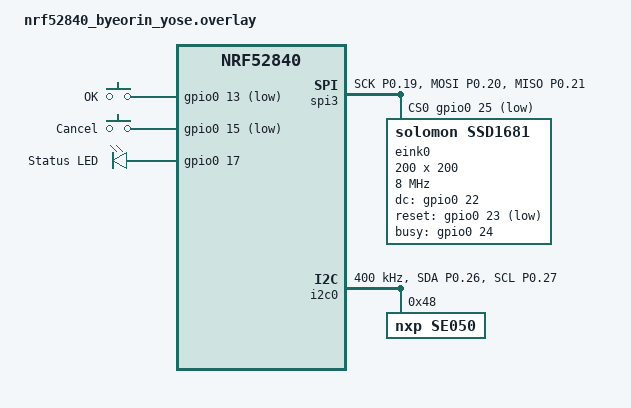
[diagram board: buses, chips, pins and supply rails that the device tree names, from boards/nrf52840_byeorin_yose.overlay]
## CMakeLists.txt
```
# SPDX-License-Identifier: Apache-2.0
#
# 벼린 요세 — application CMakeLists.
#
# Targets Zephyr 3.7. Builds against board overlays in ./boards/.
# Bootloader (MCUBoot) is a separate build configuration — see src/bootloader/README.md.

cmake_minimum_required(VERSION 3.20.0)

# Allow consumers to set BOARD via env, default to nRF52840 DK for dev.
if(NOT DEFINED BOARD)
  set(BOARD nrf52840dk_nrf52840)
endif()

find_package(Zephyr REQUIRED HINTS $ENV{ZEPHYR_BASE})

project(byeorin_yose
  VERSION 0.0.1
  LANGUAGES C
  DESCRIPTION "Worker's Wallet (벼린) Cold — hardware wallet firmware"
)

# C99 + a couple of common warning escalations.
target_compile_options(app PRIVATE
  -Wall
  -Wextra
  -Wno-unused-parameter
  -Werror=implicit-function-declaration
  -Werror=incompatible-pointer-types
)

target_include_directories(app PRIVATE src)

target_sources(app PRIVATE
  src/main.c

  # Transport
  src/transport/usb_hid.c
  src/transport/ble.c
  src/transport/apdu.c

  # Secure element
  src/se/se050.c

  # Key derivation (thin wrapper over SE)
  src/keys/derive.c

  # User-interface
  src/ui/display.c
  src/ui/buttons.c
  src/ui/confirm.c

  # Per-chain "apps" (display layers only — signing is generic)
  src/apps/evm_app.c
  src/apps/cosmos_app.c
  src/apps/btc_app.c
)

# If/when vendor middleware lands under third_party/se05x, link it here.
# add_subdirectory(../third_party/se05x se05x)
# target_link_libraries(app PRIVATE se05x_middleware)
```

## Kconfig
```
# 벼린 요세 — application Kconfig.
#
# Anything that is firmware-policy (not Zephyr-policy) belongs here.
# These symbols are referenced from C as CONFIG_BYEORIN_*.

mainmenu "Byeorin Yose Wallet firmware"

menu "Byeorin Yose"

config BYEORIN_SE050_ADDR
	hex "SE050 I2C address (7-bit)"
	default 0x48
	help
	  7-bit I2C address of the NXP SE050 secure element.
	  Default per SE050 datasheet is 0x48.

config BYEORIN_BLE_NAME
	string "BLE advertised device name"
	default "ByeorinYose"
	help
	  Name surfaced over GAP advertisements. Companion app uses
	  this to filter discovered peers.

config BYEORIN_USB_HID_REPORT_LEN
	int "USB-HID report length (bytes)"
	default 64
	range 32 1024
	help
	  Size of one HID report. Ledger-compatible APDU framing
	  fragments APDUs into reports of this size.

config BYEORIN_FIRMWARE_VERSION_STRING
	string "Firmware version string surfaced via GET_VERSION APDU"
	default "0.0.1-dev"

config BYEORIN_CONFIRM_TIMEOUT_SEC
	int "User-confirmation timeout (seconds)"
	default 60
	range 5 300
	help
	  How long confirm_tx() waits for a physical button press
	  before returning CONFIRM_TIMEOUT. 60 s is the recommended
	  default — long enough for a user to read a Hangul address
	  carefully, short enough that a forgotten device on a desk
	  does not stay armed indefinitely.

config BYEORIN_MAX_APDU_LEN
	int "Maximum reassembled APDU length"
	default 1024
	range 64 8192
	help
	  Upper bound on a single command APDU. Anything larger is
	  rejected at the transport layer.

config BYEORIN_ALLOW_BLE_SIGNING
	bool "Allow signing requests over BLE (not only USB)"
	default n
	help
	  Defence in depth: by default the firmware refuses SIGN_HASH
	  APDUs that arrive over BLE. Enable only after the threat model
	  for BLE pairing has been re-reviewed.

endmenu

# Pull in Zephyr's own Kconfig so the application can still use it.
source "Kconfig.zephyr"
```

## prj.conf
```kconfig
# 벼린 요세 — Zephyr application config.
#
# Keep this file lean: anything truly board-specific belongs in the overlay,
# anything dev-only (e.g. shell, RTT verbose) belongs in a separate
# prj_debug.conf overlay (added later).

# --- Core kernel ---------------------------------------------------------
CONFIG_MAIN_STACK_SIZE=4096
CONFIG_SYSTEM_WORKQUEUE_STACK_SIZE=4096
CONFIG_HEAP_MEM_POOL_SIZE=16384
CONFIG_EVENTS=y
CONFIG_POLL=y
CONFIG_REBOOT=y

# --- Logging -------------------------------------------------------------
# This is the PRODUCTION config. A debug overlay (prj_debug.conf) flips
# CONFIG_LOG_DEFAULT_LEVEL up, re-enables CONSOLE, and turns on
# CONFIG_ASSERT for engineering builds — never ship a release built with
# the debug overlay.
CONFIG_LOG=y
CONFIG_LOG_MODE_DEFERRED=y
# Level 2 = warning. Anything info/debug could leak address material or
# state into the RTT/UART backend; release builds must not emit it.
CONFIG_LOG_DEFAULT_LEVEL=2
# No shell, no interactive console: production firmware exposes only the
# USB-HID APDU surface and (optionally) BLE GATT. RTT-via-JTAG is the
# engineering escape hatch, gated by hardware access to the SWD pads.
CONFIG_SHELL=n
CONFIG_CONSOLE=n
CONFIG_SERIAL=n
CONFIG_UART_CONSOLE=n
CONFIG_PRINTK=n
# Sensitive-data logs (digests, derived pubkeys) are no-ops unless
# CONFIG_BYEORIN_LOG_SENSITIVE is also enabled — keep that off for release.
# CONFIG_BYEORIN_LOG_SENSITIVE is not set

# --- Asserts / debug ----------------------------------------------------
# Release builds must NOT carry asserts: they can panic the device in the
# field on conditions the bench build would simply log. Engineering builds
# use prj_debug.conf which sets CONFIG_ASSERT=y + CONFIG_DEBUG=y.
CONFIG_ASSERT=n
CONFIG_DEBUG=n
CONFIG_DEBUG_INFO=n
CONFIG_THREAD_NAME=n

# --- Storage / settings --------------------------------------------------
CONFIG_FLASH=y
CONFIG_FLASH_MAP=y
CONFIG_NVS=y
CONFIG_SETTINGS=y
CONFIG_SETTINGS_NVS=y

# --- GPIO / pinctrl / busses --------------------------------------------
CONFIG_GPIO=y
CONFIG_PINCTRL=y
CONFIG_I2C=y
CONFIG_SPI=y

# --- USB stack (CDC + HID) ----------------------------------------------
CONFIG_USB_DEVICE_STACK=y
CONFIG_USB_DEVICE_PRODUCT="Byeorin Yose Wallet"
CONFIG_USB_DEVICE_MANUFACTURER="Byeorin"
CONFIG_USB_DEVICE_VID=0x2C97
CONFIG_USB_DEVICE_PID=0x1011
CONFIG_USB_DEVICE_HID=y
CONFIG_USB_HID=y
CONFIG_USB_HID_POLL_INTERVAL_MS=1
CONFIG_USB_DEVICE_INITIALIZE_AT_BOOT=n
# Enable the HID interrupt-OUT endpoint so OUT reports arrive via
# hid_int_ep_read() rather than only via SET_REPORT control transfers.
# Both paths funnel into hid_on_report_out() in usb_hid.c.
CONFIG_ENABLE_HID_INT_OUT_EP=y

# --- Bluetooth (Peripheral only) ----------------------------------------
CONFIG_BT=y
CONFIG_BT_PERIPHERAL=y
CONFIG_BT_DEVICE_NAME="ByeorinYose"
CONFIG_BT_DEVICE_APPEARANCE=192
CONFIG_BT_MAX_CONN=1
CONFIG_BT_MAX_PAIRED=4
CONFIG_BT_SETTINGS=y
CONFIG_BT_SMP=y
CONFIG_BT_FIXED_PASSKEY=y
CONFIG_BT_BONDABLE=y
# Peripheral-only profile: no GATT client, no central role.
CONFIG_BT_GATT_CLIENT=n
# We need bt_gatt_cb_register for MTU updates; pulled in by default
# when CONFIG_BT_GATT is on, but pin it explicitly for clarity.
CONFIG_BT_GATT_DYNAMIC_DB=n
# bt_conn_auth_info_cb support
CONFIG_BT_CONN=y

# --- Crypto (mbedTLS subset, only what MCUBoot signature verify needs) --
CONFIG_MBEDTLS=y
CONFIG_MBEDTLS_BUILTIN=y
CONFIG_MBEDTLS_ENABLE_HEAP=y
CONFIG_MBEDTLS_HEAP_SIZE=8192
CONFIG_MBEDTLS_SHA256_C=y
CONFIG_MBEDTLS_ECDSA_C=y
CONFIG_MBEDTLS_ECP_C=y
CONFIG_MBEDTLS_ECP_DP_SECP256R1_ENABLED=y

# --- MCUBoot integration (signed images, swap-move) ---------------------
CONFIG_BOOTLOADER_MCUBOOT=y
CONFIG_MCUBOOT_IMAGE_VERSION="0.0.1+0"
CONFIG_MCUBOOT_SIGNATURE_KEY_FILE=""
CONFIG_IMG_MANAGER=y
CONFIG_STREAM_FLASH=y

# --- Power / watchdog ---------------------------------------------------
CONFIG_PM=y
CONFIG_PM_DEVICE=y
CONFIG_WATCHDOG=y

# --- Application-private Kconfig ----------------------------------------
# (defined in app/Kconfig)
CONFIG_BYEORIN_SE050_ADDR=0x48
CONFIG_BYEORIN_BLE_NAME="ByeorinYose"
CONFIG_BYEORIN_USB_HID_REPORT_LEN=64
CONFIG_BYEORIN_FIRMWARE_VERSION_STRING="0.0.1-dev"
CONFIG_BYEORIN_CONFIRM_TIMEOUT_SEC=60
# Defence in depth: SIGN_HASH refused over BLE unless explicitly opted in.
CONFIG_BYEORIN_ALLOW_BLE_SIGNING=n
```

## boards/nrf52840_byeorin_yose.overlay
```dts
/*
 * Devicetree overlay for the 벼린 요세 board.
 *
 * Pin assignments mirror hardware/pin-map.md. When the real board file
 * lands under firmware/boards/byeorin_yose/, this overlay becomes obsolete
 * for production — but it keeps `west build -b nrf52840dk_nrf52840` working
 * for early development on the Nordic DK.
 *
 * Bus assignment:
 *   - SPI3  -> e-ink panel (SSD1681/UC8151)
 *   - I2C0  -> SE050 secure element
 *   - GPIO  -> 2 buttons, 1 status LED, e-ink DC/RST/BUSY sidebands
 */

/ {
	chosen {
		zephyr,console = &uart0;
		zephyr,uart-mcumgr = &uart0;
		zephyr,bt-mon-uart = &uart0;
		zephyr,bt-c2h-uart = &uart0;
	};

	aliases {
		ok-button     = &button_ok;
		cancel-button = &button_cancel;
		status-led    = &led_status;
		eink-display  = &eink0;
		se050         = &se050_0;
	};

	buttons {
		compatible = "gpio-keys";

		button_ok: button_ok {
			gpios = <&gpio0 13 (GPIO_PULL_UP | GPIO_ACTIVE_LOW)>;
			label = "OK";
			zephyr,code = <0x1c>; /* INPUT_KEY_ENTER */
		};

		button_cancel: button_cancel {
			gpios = <&gpio0 15 (GPIO_PULL_UP | GPIO_ACTIVE_LOW)>;
			label = "Cancel";
			zephyr,code = <0x01>; /* INPUT_KEY_ESC */
		};
	};

	leds {
		compatible = "gpio-leds";

		led_status: led_status {
			gpios = <&gpio0 17 GPIO_ACTIVE_HIGH>;
			label = "Status LED";
		};
	};

	eink_ctrl: eink_ctrl {
		compatible = "gpio-keys"; /* re-purposed to expose pins */
		dc-gpios   = <&gpio0 22 GPIO_ACTIVE_HIGH>;
		rst-gpios  = <&gpio0 23 GPIO_ACTIVE_LOW>;
		busy-gpios = <&gpio0 24 GPIO_ACTIVE_HIGH>;
	};
};

/* ------------------------------------------------------------------ */
/* SPI3 — e-ink                                                       */
/* ------------------------------------------------------------------ */
&pinctrl {
	spi3_default: spi3_default {
		group1 {
			psels = <NRF_PSEL(SPIM_SCK,  0, 19)>,
			        <NRF_PSEL(SPIM_MOSI, 0, 20)>,
			        <NRF_PSEL(SPIM_MISO, 0, 21)>; /* unused but routed */
		};
	};

	spi3_sleep: spi3_sleep {
		group1 {
			psels = <NRF_PSEL(SPIM_SCK,  0, 19)>,
			        <NRF_PSEL(SPIM_MOSI, 0, 20)>,
			        <NRF_PSEL(SPIM_MISO, 0, 21)>;
			low-power-enable;
		};
	};

	i2c0_default: i2c0_default {
		group1 {
			psels = <NRF_PSEL(TWIM_SDA, 0, 26)>,
			        <NRF_PSEL(TWIM_SCL, 0, 27)>;
		};
	};

	i2c0_sleep: i2c0_sleep {
		group1 {
			psels = <NRF_PSEL(TWIM_SDA, 0, 26)>,
			        <NRF_PSEL(TWIM_SCL, 0, 27)>;
			low-power-enable;
		};
	};
};

&spi3 {
	status = "okay";
	compatible = "nordic,nrf-spim";
	pinctrl-0 = <&spi3_default>;
	pinctrl-1 = <&spi3_sleep>;
	pinctrl-names = "default", "sleep";
	cs-gpios = <&gpio0 25 GPIO_ACTIVE_LOW>;

	eink0: eink@0 {
		compatible = "solomon,ssd1681"; /* alt: ultrachip,uc8151 */
		reg = <0>;
		spi-max-frequency = <8000000>;
		width  = <200>;
		height = <200>;
		dc-gpios   = <&gpio0 22 GPIO_ACTIVE_HIGH>;
		reset-gpios = <&gpio0 23 GPIO_ACTIVE_LOW>;
		busy-gpios  = <&gpio0 24 GPIO_ACTIVE_HIGH>;
	};
};

/* ------------------------------------------------------------------ */
/* I2C0 — SE050                                                       */
/* ------------------------------------------------------------------ */
&i2c0 {
	status = "okay";
	compatible = "nordic,nrf-twim";
	pinctrl-0 = <&i2c0_default>;
	pinctrl-1 = <&i2c0_sleep>;
	pinctrl-names = "default", "sleep";
	clock-frequency = <I2C_BITRATE_FAST>;

	se050_0: se050@48 {
		compatible = "nxp,se050";
		reg = <0x48>;
		label = "SE050";
	};
};

/* ------------------------------------------------------------------ */
/* Flash partitions                                                   */
/*                                                                    */
/*   MCUBoot owns 0x000000 - 0x00C000.                                */
/*   Slot0 holds the running image, Slot1 receives upgrades over      */
/*   USB-HID (APDU 0xFE).                                             */
/*   "storage" is Zephyr NVS for settings + BLE bonds.                */
/*   "keystore_meta" only stores SE050 *object IDs*, never key data.  */
/* ------------------------------------------------------------------ */
&flash0 {
	partitions {
		compatible = "fixed-partitions";
		#address-cells = <1>;
		#size-cells = <1>;

		boot_partition: partition@0 {
			label = "mcuboot";
			reg = <0x00000000 0x0000C000>;
			read-only;
		};

		slot0_partition: partition@c000 {
			label = "image-0";
			reg = <0x0000C000 0x00067000>;
		};

		slot1_partition: partition@73000 {
			label = "image-1";
			reg = <0x00073000 0x00067000>;
		};

		storage_partition: partition@da000 {
			label = "storage";
			reg = <0x000DA000 0x00006000>;
		};

		keystore_meta_partition: partition@e0000 {
			label = "keystore-meta";
			reg = <0x000E0000 0x00020000>;
		};
	};
};
```

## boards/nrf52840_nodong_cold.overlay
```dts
/*
 * Devicetree overlay for the 노동자의 지갑 Cold board.
 *
 * Pin assignments mirror hardware/pin-map.md. When the real board file
 * lands under firmware/boards/nodong_cold/, this overlay becomes obsolete
 * for production — but it keeps `west build -b nrf52840dk_nrf52840` working
 * for early development on the Nordic DK.
 *
 * Bus assignment:
 *   - SPI3  -> e-ink panel (SSD1681/UC8151)
 *   - I2C0  -> SE050 secure element
 *   - GPIO  -> 2 buttons, 1 status LED, e-ink DC/RST/BUSY sidebands
 */

/ {
	chosen {
		zephyr,console = &uart0;
		zephyr,uart-mcumgr = &uart0;
		zephyr,bt-mon-uart = &uart0;
		zephyr,bt-c2h-uart = &uart0;
	};

	aliases {
		ok-button     = &button_ok;
		cancel-button = &button_cancel;
		status-led    = &led_status;
		eink-display  = &eink0;
		se050         = &se050_0;
	};

	buttons {
		compatible = "gpio-keys";

		button_ok: button_ok {
			gpios = <&gpio0 13 (GPIO_PULL_UP | GPIO_ACTIVE_LOW)>;
			label = "OK";
			zephyr,code = <0x1c>; /* INPUT_KEY_ENTER */
		};

		button_cancel: button_cancel {
			gpios = <&gpio0 15 (GPIO_PULL_UP | GPIO_ACTIVE_LOW)>;
			label = "Cancel";
			zephyr,code = <0x01>; /* INPUT_KEY_ESC */
		};
	};

	leds {
		compatible = "gpio-leds";

		led_status: led_status {
			gpios = <&gpio0 17 GPIO_ACTIVE_HIGH>;
			label = "Status LED";
		};
	};

	eink_ctrl: eink_ctrl {
		compatible = "gpio-keys"; /* re-purposed to expose pins */
		dc-gpios   = <&gpio0 22 GPIO_ACTIVE_HIGH>;
		rst-gpios  = <&gpio0 23 GPIO_ACTIVE_LOW>;
		busy-gpios = <&gpio0 24 GPIO_ACTIVE_HIGH>;
	};
};

/* ------------------------------------------------------------------ */
/* SPI3 — e-ink                                                       */
/* ------------------------------------------------------------------ */
&pinctrl {
	spi3_default: spi3_default {
		group1 {
			psels = <NRF_PSEL(SPIM_SCK,  0, 19)>,
			        <NRF_PSEL(SPIM_MOSI, 0, 20)>,
			        <NRF_PSEL(SPIM_MISO, 0, 21)>; /* unused but routed */
		};
	};

	spi3_sleep: spi3_sleep {
		group1 {
			psels = <NRF_PSEL(SPIM_SCK,  0, 19)>,
			        <NRF_PSEL(SPIM_MOSI, 0, 20)>,
			        <NRF_PSEL(SPIM_MISO, 0, 21)>;
			low-power-enable;
		};
	};

	i2c0_default: i2c0_default {
		group1 {
			psels = <NRF_PSEL(TWIM_SDA, 0, 26)>,
			        <NRF_PSEL(TWIM_SCL, 0, 27)>;
		};
	};

	i2c0_sleep: i2c0_sleep {
		group1 {
			psels = <NRF_PSEL(TWIM_SDA, 0, 26)>,
			        <NRF_PSEL(TWIM_SCL, 0, 27)>;
			low-power-enable;
		};
	};
};

&spi3 {
	status = "okay";
	compatible = "nordic,nrf-spim";
	pinctrl-0 = <&spi3_default>;
	pinctrl-1 = <&spi3_sleep>;
	pinctrl-names = "default", "sleep";
	cs-gpios = <&gpio0 25 GPIO_ACTIVE_LOW>;

	eink0: eink@0 {
		compatible = "solomon,ssd1681"; /* alt: ultrachip,uc8151 */
		reg = <0>;
		spi-max-frequency = <8000000>;
		width  = <200>;
		height = <200>;
		dc-gpios   = <&gpio0 22 GPIO_ACTIVE_HIGH>;
		reset-gpios = <&gpio0 23 GPIO_ACTIVE_LOW>;
		busy-gpios  = <&gpio0 24 GPIO_ACTIVE_HIGH>;
	};
};

/* ------------------------------------------------------------------ */
/* I2C0 — SE050                                                       */
/* ------------------------------------------------------------------ */
&i2c0 {
	status = "okay";
	compatible = "nordic,nrf-twim";
	pinctrl-0 = <&i2c0_default>;
	pinctrl-1 = <&i2c0_sleep>;
	pinctrl-names = "default", "sleep";
	clock-frequency = <I2C_BITRATE_FAST>;

	se050_0: se050@48 {
		compatible = "nxp,se050";
		reg = <0x48>;
		label = "SE050";
	};
};

/* ------------------------------------------------------------------ */
/* Flash partitions                                                   */
/*                                                                    */
/*   MCUBoot owns 0x000000 - 0x00C000.                                */
/*   Slot0 holds the running image, Slot1 receives upgrades over      */
/*   USB-HID (APDU 0xFE).                                             */
/*   "storage" is Zephyr NVS for settings + BLE bonds.                */
/*   "keystore_meta" only stores SE050 *object IDs*, never key data.  */
/* ------------------------------------------------------------------ */
&flash0 {
	partitions {
		compatible = "fixed-partitions";
		#address-cells = <1>;
		#size-cells = <1>;

		boot_partition: partition@0 {
			label = "mcuboot";
			reg = <0x00000000 0x0000C000>;
			read-only;
		};

		slot0_partition: partition@c000 {
			label = "image-0";
			reg = <0x0000C000 0x00067000>;
		};

		slot1_partition: partition@73000 {
			label = "image-1";
			reg = <0x00073000 0x00067000>;
		};

		storage_partition: partition@da000 {
			label = "storage";
			reg = <0x000DA000 0x00006000>;
		};

		keystore_meta_partition: partition@e0000 {
			label = "keystore-meta";
			reg = <0x000E0000 0x00020000>;
		};
	};
};
```

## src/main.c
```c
/*
 * SPDX-License-Identifier: Apache-2.0
 * 벼린 요세 — application entry point.
 *
 * Boot sequence:
 *   1. Init logging.
 *   2. Init UI (display, buttons).
 *   3. Init SE050 (i2c0 must be up).
 *   4. Init transports: USB-HID first (cabled), then BLE (if enabled).
 *   5. Wire transport → APDU dispatcher.
 *   6. Show the idle "Worker's Wallet — ready" screen.
 *   7. Enter the message-loop thread; main() returns.
 *
 * The message loop is intentionally simple: one queue, drained by one
 * thread. Confirmation dialogs block that thread on purpose — there is
 * no "concurrent signing".
 */

#include <string.h>

#include <zephyr/kernel.h>
#include <zephyr/device.h>

#include "version.h"
#include "log.h"
#include "transport/apdu.h"
#include "transport/usb_hid.h"
#include "transport/ble.h"
#include "se/se050.h"
#include "ui/display.h"
#include "ui/buttons.h"
#include "ui/confirm.h"

LOG_MODULE_REGISTER(byeorin_main, CONFIG_LOG_DEFAULT_LEVEL);

#define APDU_QUEUE_SLOTS    4
#define APDU_BUF_BYTES      CONFIG_BYEORIN_MAX_APDU_LEN
#define MSG_THREAD_STACK    4096
#define MSG_THREAD_PRIO     5

struct apdu_msg {
	byeorin_transport_t origin;
	size_t             len;
	uint8_t            data[APDU_BUF_BYTES];
};

K_MSGQ_DEFINE(m_apdu_q, sizeof(struct apdu_msg), APDU_QUEUE_SLOTS, 4);

static void enqueue_apdu(const uint8_t *apdu, size_t len, byeorin_transport_t o)
{
	struct apdu_msg m = { .origin = o, .len = len };
	if (len > APDU_BUF_BYTES) {
		ND_LOG_ERR("apdu over %u bytes — dropped", APDU_BUF_BYTES);
		return;
	}
	memcpy(m.data, apdu, len);
	if (k_msgq_put(&m_apdu_q, &m, K_NO_WAIT) != 0) {
		ND_LOG_ERR("apdu queue full");
	}
}

static void on_usb_apdu(const uint8_t *a, size_t l)
{
	enqueue_apdu(a, l, BYEORIN_TRANSPORT_USB_HID);
}

static void on_ble_apdu(const uint8_t *a, size_t l)
{
	enqueue_apdu(a, l, BYEORIN_TRANSPORT_BLE);
}

static void show_idle_screen(void)
{
	display_clear();
	(void)display_draw_text(8,  32, 2, "Worker's Wallet");
	(void)display_draw_text(8,  72, 1, "벼린");
	(void)display_draw_text(8, 144, 0, "fw " BYEORIN_FW_VERSION);
	(void)display_draw_text(8, 160, 0, "Ready.");
	(void)display_refresh_full();
}

static void msg_thread_fn(void *a, void *b, void *c)
{
	(void)a; (void)b; (void)c;

	uint8_t resp_buf[APDU_BUF_BYTES];

	for (;;) {
		struct apdu_msg m;
		k_msgq_get(&m_apdu_q, &m, K_FOREVER);

		struct byeorin_apdu_cmd cmd;
		if (byeorin_apdu_parse(m.data, m.len, &cmd) != 0) {
			ND_LOG_WRN("malformed apdu, len=%zu", m.len);
			continue;
		}
		cmd.origin = m.origin;

		struct byeorin_apdu_resp resp = {
			.data     = resp_buf,
			.capacity = sizeof(resp_buf) - 2,
			.len      = 0,
			.sw       = BYEORIN_SW_INTERNAL_ERROR,
		};
		(void)byeorin_apdu_dispatch(&cmd, &resp);

		uint8_t out[APDU_BUF_BYTES];
		int n = byeorin_apdu_serialize(&resp, out, sizeof(out));
		if (n < 0) {
			ND_LOG_ERR("serialize failed: %d", n);
			continue;
		}

		if (m.origin == BYEORIN_TRANSPORT_USB_HID) {
			(void)byeorin_usb_hid_send(out, (size_t)n);
		} else {
			(void)byeorin_ble_send(out, (size_t)n);
		}
	}
}

K_THREAD_DEFINE(byeorin_msg_thread, MSG_THREAD_STACK,
		msg_thread_fn, NULL, NULL, NULL,
		MSG_THREAD_PRIO, 0, 0);

int main(void)
{
	ND_LOG_INF("벼린 요세 — boot, fw=%s", BYEORIN_FW_VERSION);

	if (display_init() != 0) {
		ND_LOG_WRN("display_init failed (continuing for dev board)");
	}
	if (buttons_init() != 0) {
		ND_LOG_ERR("buttons_init failed");
	}
	if (se_init() != 0) {
		ND_LOG_ERR("se_init failed — device unusable for signing");
	}

	byeorin_usb_hid_register_apdu_cb(on_usb_apdu);
	byeorin_ble_register_apdu_cb(on_ble_apdu);

	(void)byeorin_usb_hid_init();
	(void)byeorin_usb_hid_start();
	(void)byeorin_ble_init();
	(void)byeorin_ble_start_advertising();

	show_idle_screen();
	return 0;
}
```

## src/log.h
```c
/*
 * SPDX-License-Identifier: Apache-2.0
 * 벼린 요세 — logging wrapper.
 *
 * Wraps Zephyr's logging subsystem so we can:
 *   1) compile every log call out in release builds (CONFIG_LOG=n);
 *   2) keep secret material (digests, derived pubkeys) out of release logs
 *      using LOG_INF_SAFE / LOG_HEX_SAFE which become no-ops unless
 *      CONFIG_BYEORIN_LOG_SENSITIVE is also enabled.
 *
 * Every translation unit that wants to log must register a module:
 *
 *   #include "log.h"
 *   LOG_MODULE_REGISTER(my_module, CONFIG_LOG_DEFAULT_LEVEL);
 */
#ifndef BYEORIN_LOG_H_
#define BYEORIN_LOG_H_

#include <zephyr/logging/log.h>

#ifdef CONFIG_LOG

#define ND_LOG_INF(...)  LOG_INF(__VA_ARGS__)
#define ND_LOG_WRN(...)  LOG_WRN(__VA_ARGS__)
#define ND_LOG_ERR(...)  LOG_ERR(__VA_ARGS__)
#define ND_LOG_DBG(...)  LOG_DBG(__VA_ARGS__)
#define ND_LOG_HEX(_p,_n,_lbl) LOG_HEXDUMP_DBG((_p),(_n),(_lbl))

#else /* !CONFIG_LOG */

#define ND_LOG_INF(...)  ((void)0)
#define ND_LOG_WRN(...)  ((void)0)
#define ND_LOG_ERR(...)  ((void)0)
#define ND_LOG_DBG(...)  ((void)0)
#define ND_LOG_HEX(_p,_n,_lbl) ((void)0)

#endif /* CONFIG_LOG */

/*
 * "Sensitive" variants. Only emit when explicitly opted-in via Kconfig.
 * Default-off so a production build cannot accidentally leak a digest.
 */
#ifdef CONFIG_BYEORIN_LOG_SENSITIVE
#define ND_LOG_INF_SAFE(...)        ND_LOG_INF(__VA_ARGS__)
#define ND_LOG_HEX_SAFE(_p,_n,_lbl) ND_LOG_HEX((_p),(_n),(_lbl))
#else
#define ND_LOG_INF_SAFE(...)        ((void)0)
#define ND_LOG_HEX_SAFE(_p,_n,_lbl) ((void)0)
#endif

#endif /* BYEORIN_LOG_H_ */
```

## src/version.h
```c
/*
 * SPDX-License-Identifier: Apache-2.0
 * 벼린 요세 — firmware version string.
 *
 * Surfaced via the GET_VERSION (INS=0x00) APDU and folded into
 * the MCUBoot image header (see app/CMakeLists.txt / west.yml).
 */
#ifndef BYEORIN_VERSION_H_
#define BYEORIN_VERSION_H_

#define BYEORIN_FW_VERSION "0.0.1-dev"

#endif /* BYEORIN_VERSION_H_ */
```
